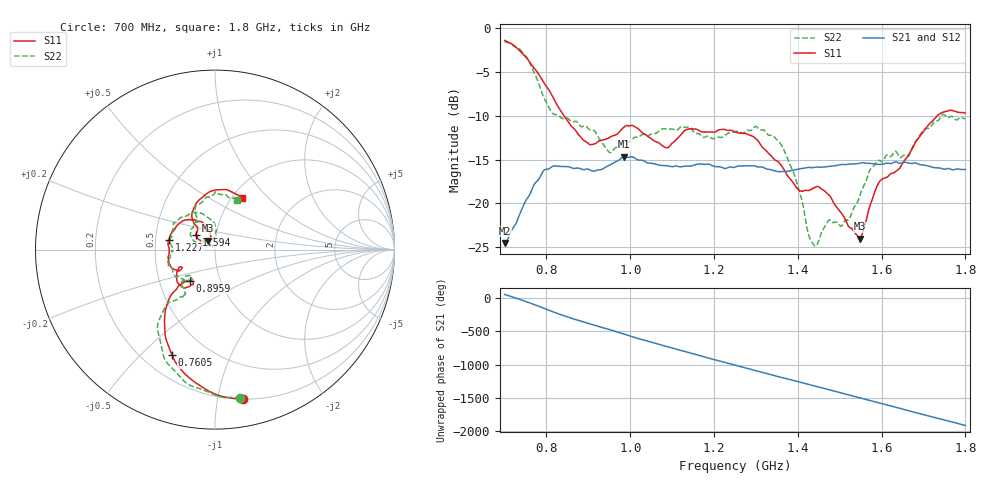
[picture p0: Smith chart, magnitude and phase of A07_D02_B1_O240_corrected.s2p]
! Created with skrf 1.9.0 (http://scikit-rf.org).
# Hz S RI R 50.0
!freq ReS11 ImS11 ReS21 ImS21 ReS12 ImS12 ReS22 ImS22
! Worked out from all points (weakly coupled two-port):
!   1601 points, 700 MHz to 1.8 GHz, reference 50 ohm
!   highest |S21| = -14.65 dB at 985.3 MHz (marker M1); lowest = -24.5 dB at 700.7 MHz (marker M2)
!   lowest |S11| = -24.0 dB at 1.548 GHz (marker M3), VSWR 1.13, Z = 46.1 + j4.69 ohm
!   |S11| at or under -10 dB: 841.7 MHz to 1.733 GHz (891.1 MHz wide, 69.2 % of centre)
!   |S22| runs from -24.9 to -1.5 dB; largest |S21 - S12| = 0.0034
!   S11 on the Smith chart (normalised r, x): 700 MHz: 0.20, -1.19; 760.5 MHz: 0.32, -0.63; 895.9 MHz: 0.71, -0.26; 1.227 GHz: 0.59, +0.07; 1.594 GHz: 0.80, +0.13; 1.8 GHz: 1.11, +0.72
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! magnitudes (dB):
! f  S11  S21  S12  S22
! 700 MHz  -1.4  -24.5  -24.3  -1.5
! 700.7 MHz  -1.4  -24.5  -24.2  -1.6
! 760.5 MHz  -3.9  -18.9  -18.8  -4.0
! 812.8 MHz  -7.6  -15.8  -15.8  -9.6
! 883.6 MHz  -12.5  -16.1  -16.0  -11.2
! 895.9 MHz  -13.0  -16.1  -16.2  -11.2
! 950.2 MHz  -12.5  -15.6  -15.6  -14.2
! 985.3 MHz  -11.3  -14.7  -14.7  -13.0
! 1.067 GHz  -13.1  -15.6  -15.5  -11.8
! 1.227 GHz  -11.6  -16.0  -15.9  -12.2
! 1.25 GHz  -11.8  -15.9  -15.8  -11.8
! 1.359 GHz  -15.5  -16.4  -16.3  -13.2
! 1.394 GHz  -18.0  -16.2  -16.1  -17.0
! 1.434 GHz  -18.3  -15.9  -15.9  -24.4
! 1.472 GHz  -18.9  -15.8  -15.8  -22.0
! 1.521 GHz  -22.6  -15.5  -15.5  -21.9
! 1.548 GHz  -24.0  -15.4  -15.4  -19.1
! 1.594 GHz  -17.5  -15.6  -15.5  -15.1
! 1.617 GHz  -16.8  -15.4  -15.4  -14.5
! 1.663 GHz  -14.5  -15.4  -15.4  -14.6
! 1.736 GHz  -9.9  -15.9  -16.0  -10.5
! 1.8 GHz  -9.7  -16.1  -16.1  -10.3
